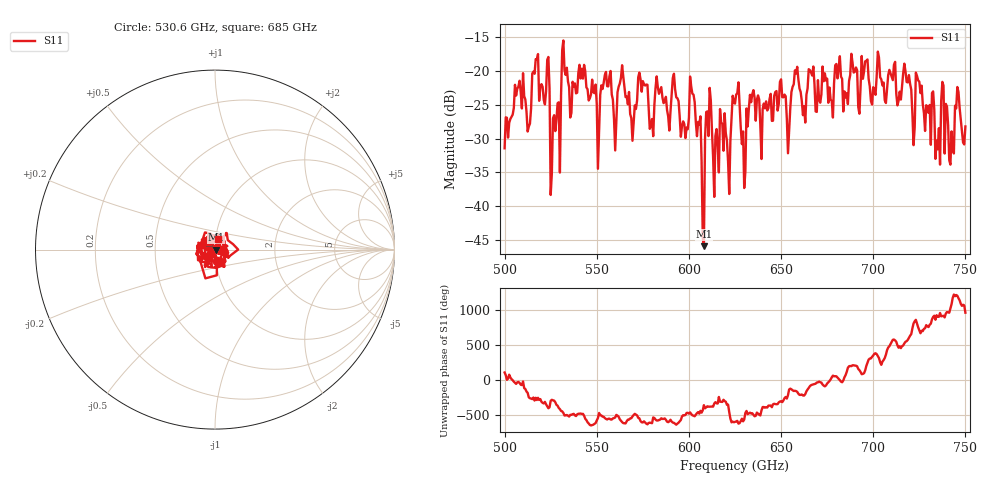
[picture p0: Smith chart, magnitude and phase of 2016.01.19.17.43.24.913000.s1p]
!Created with skrf (http://scikit-rf.org).
# GHz S RI R 50.0
!freq ReS11 ImS11
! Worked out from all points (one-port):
!   401 points, 500 GHz to 750 GHz, reference 50 ohm
!   lowest |S11| = -45.9 dB at 608.1 GHz (marker M1), VSWR 1.01, Z = 50.5 + j0.0213 ohm
!   |S11| at or under -10 dB: start of sweep to end of sweep
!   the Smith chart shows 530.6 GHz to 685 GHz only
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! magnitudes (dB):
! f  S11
! 500 GHz  -31.4
! 506.9 GHz  -22.6
! 513.1 GHz  -28.2
! 516.9 GHz  -18.2
! 523.1 GHz  -18.3
! 526.2 GHz  -27.0
! 531.2 GHz  -16.9
! 551.2 GHz  -29.1
! 556.2 GHz  -22.3
! 559.4 GHz  -27.2
! 562.5 GHz  -21.8
! 569.4 GHz  -30.3
! 593.8 GHz  -24.0
! 601.9 GHz  -23.3
! 608.1 GHz  -45.9
! 610.6 GHz  -29.6
! 621.2 GHz  -33.5
! 625 GHz  -24.8
! 629.4 GHz  -28.9
! 634.4 GHz  -23.4
! 656.2 GHz  -22.3
! 687.5 GHz  -20.6
! 718.8 GHz  -21.7
! 735 GHz  -31.6
! 738.1 GHz  -22.1
! 742.5 GHz  -28.9
! 745.6 GHz  -22.3
! 750 GHz  -28.2
